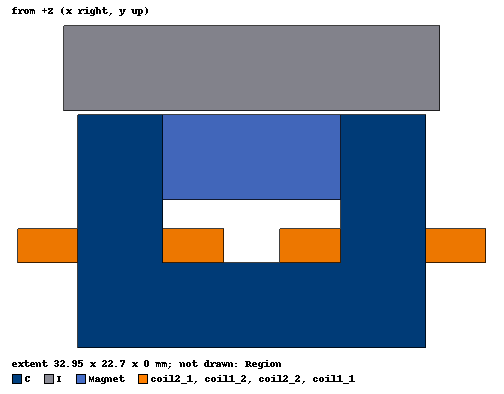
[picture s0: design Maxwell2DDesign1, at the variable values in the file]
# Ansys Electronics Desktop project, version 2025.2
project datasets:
  $Dielectric_constant_with_frequency_1510: (1000000000, 3.77552) (3000000000, 3.76552) (5000000000, 3.76) (7000000000, 3.75) (10000000000, 3.74) (15000000000, 3.72) (20000000000, 3.7)
  $Dielectric_loss_tangent_with_frequency_1510: (1000000000, 0.005) (3000000000, 0.005) (5000000000, 0.006) (7000000000, 0.007) (10000000000, 0.007) (15000000000, 0.008) (20000000000, 0.008)
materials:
  vacuum: permittivity=1
  copper: permeability=0.999991 conductivity=58000000
  DW310_35: permeability{HUnit=A_per_meter BUnit=tesla curve (0, 0) (58, 0.4) (60, 0.45) (62, 0.5) (64, 0.55) (68, 0.6) (72, 0.65) (75, 0.7) (78, 0.75) (84, 0.8) (92, 0.85) (100, 0.9) (107, 0.95) (116, 1) (127, 1.05) (143, 1.1) (167, 1.15) (197, 1.2) (239, 1.25) (303, 1.3) (422, 1.35) (597, 1.4) (955, 1.45) (1592, 1.5) (2389, 1.55) (3462, 1.6) (5096, 1.65) (6529, 1.7) (8262, 1.75) (10988, 1.8) (14730, 1.85) (18313, 1.9) (23090, 1.95) (30892, 2) (47771, 2.05) (74045, 2.1)} core_loss_type="Electrical Steel" core_loss_kh=179 core_loss_kc=0.403 mass_density=7650
  N50M_Y+: permittivity=1 permeability=1.0917875 conductivity=625000 magnetic_coercivity{Magnitude=-1035000A_per_meter DirComp1=1 DirComp2=0 DirComp3=0} lande_g_factor=2

design Maxwell2DDesign1 (Maxwell 2D, Magnetostatic, XY geometry, model units mm)
options: ModelDepth=1meter
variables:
  Nc = 8
  D = 0.6mm
  de = 6mm
  dr = 0mm
  Nn = 4
  g = 1mm
  I = 5A
  gap = 0.3mm
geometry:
  Rectangle1 = rectangle(corner=((Nc-1)*sqrt(3)/2*D+D+0.002, 0mm, 0mm), x_size=de, y_size=-(dr+2*de+Nn*D+0.002))
  C [DW310_35] = rectangle(corner=((Nc-1)*sqrt(3)/2*D+D+0.002, -(dr+2*de+Nn*D+0.002), 0mm), x_size=-2*((Nc-1)*sqrt(3)/2*D+D+0.002), y_size=de)
  Rectangle1_1 = Rectangle1.duplicate_mirror(point=(0mm, 0mm, 0mm), normal=(-1mm, 0mm, 0mm))
  Magnet [N50M_Y+] = rectangle(corner=((Nc-1)*sqrt(3)/2*D+D+0.002, 0mm, 0mm), x_size=-2*((Nc-1)*sqrt(3)/2*D+D+0.002), y_size=-de)
  coil2_1 [copper] = rectangle(corner=((Nc-1)*sqrt(3)/2*D+D+0.002, -(dr+de+Nn*D+0.002), 0mm), x_size=-((Nc-1)*sqrt(3)/2*D+D), y_size=Nn*D)
  coil1_2 [copper] = coil2_1.duplicate_mirror(point=(0mm, 0mm, 0mm), normal=(-1mm, 0mm, 0mm))
  coil2_2 [copper] = rectangle(corner=((Nc-1)*sqrt(3)/2*D+D+de+0.002, -(dr+de+Nn*D+0.002), 0mm), x_size=(Nc-1)*sqrt(3)/2*D+D, y_size=Nn*D)
  coil1_1 [copper] = coil2_2.duplicate_mirror(point=(0mm, 0mm, 0mm), normal=(-1mm, 0mm, 0mm))
  I [DW310_35] = rectangle(corner=((Nc-1)*sqrt(3)/2*D+D+de+0.003, 0, 0mm), x_size=-2*((Nc-1)*sqrt(3)/2*D+D+de+0.003), y_size=de)
  C.unite(Rectangle1, Rectangle1_1)
  Region [vacuum] = region(percentage_offset: +X=100, -X=100, +Y=100, -Y=100, +Z=0, -Z=0)
  I.move(0mm, gap, 0mm)
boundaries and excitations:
  VectorPotential1: Vector Potential Edges=Region.edge(all 4) Value=0
  Current1: Current Objects=coil2_2 Current=(Nc*(2*Nn-1)+mod(Nc,2))/2*I IsPositive=true
  Current2: Current Objects=coil2_1 Current=(Nc*(2*Nn-1)+mod(Nc,2))/2*I IsPositive=false
  Current3: Current Objects=coil1_2 Current=(Nc*(2*Nn-1)+mod(Nc,2))/2*I IsPositive=false
  Current4: Current Objects=coil1_1 Current=(Nc*(2*Nn-1)+mod(Nc,2))/2*I IsPositive=true
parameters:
  Force1: Force Reference_CS=Global Objects=I
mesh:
  Length1: LengthBased RefineInside Objects=[coil1_1, coil1_2, coil2_1, coil2_2] MaxLength="(0.5*0.847461339178928/2) mm" ApplyToInitialMesh
  Length2: LengthBased RefineInside Objects=C MaxLength="(0.5*4.89492267835786/2) mm" ApplyToInitialMesh
  Length3: LengthBased RefineInside Objects=Magnet MaxLength="(0.5*2.49492267835786/2) mm" ApplyToInitialMesh
  Length4: LengthBased RefineInside Objects=I MaxLength="(0.5*5.29492267835786/2) mm"
  Length5: LengthBased RefineInside Objects=Region MaxLength="(0.5*19.7695360701471/2) mm"
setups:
  Setup1: Magnetostatic MaximumPasses=10 MinimumPasses=2 MinimumConvergedPasses=1 PercentRefinement=30 PercentError=0.2 NonLinearResidual=0.0001
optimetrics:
  ParametricSetup1: Parametric Sim._Setups=[Setup1]
    sweep Nc: 28
    sweep de: 11mm
    sweep g: 0.3mm
    sweep dr: 0mm
    sweep Nn: 21
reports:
  Force Plot1: Force1.Force_y vs Nc on Setup1 : LastAdaptive [de=all dr=all Nn=all g=all]
